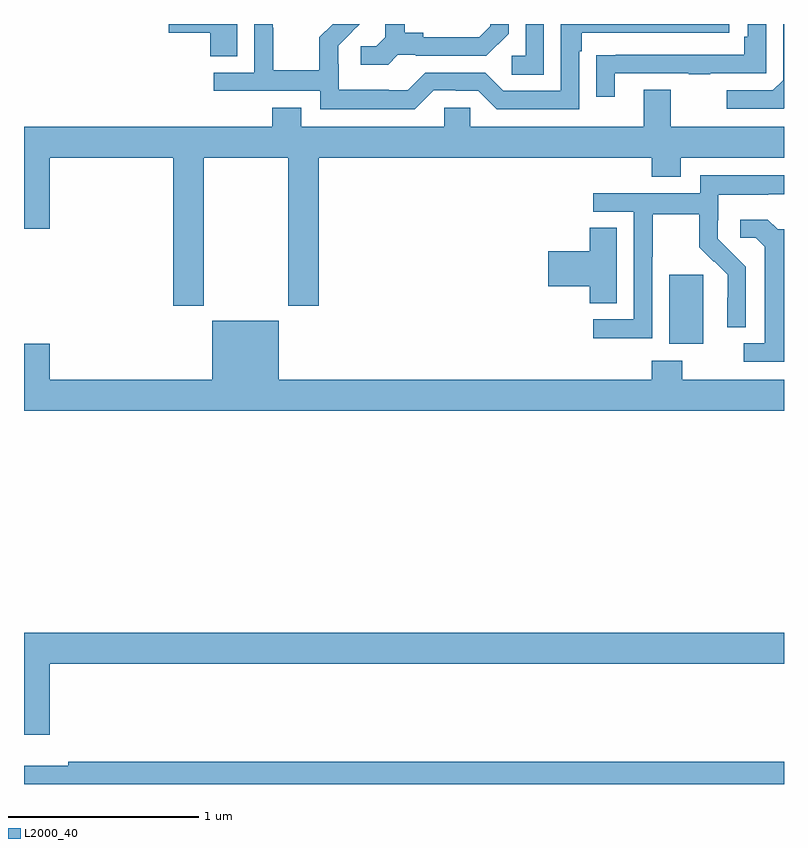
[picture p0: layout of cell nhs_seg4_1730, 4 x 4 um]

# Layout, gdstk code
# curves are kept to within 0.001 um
import gdstk
lib = gdstk.Library(unit=1e-6, precision=1e-09)
def R(c, l, rs):  # rectangles x0, y0, x1, y1
    for r in rs: c.add(gdstk.rectangle(r[:2], r[2:], *l))
def P(c, l, *ps):  # polygons
    for p in ps: c.add(gdstk.Polygon(p, *l))
L2000_40 = (2000, 40)

nhs_seg4_1730 = lib.new_cell('nhs_seg4_1730')
R(nhs_seg4_1730, L2000_40, [(204.395,753.218,204.574,753.579)])
P(nhs_seg4_1730, L2000_40, [(203.736,754.9),(203.64,754.9),(203.64,754.734),(203.568,754.734),(203.568,754.633),(203.736,754.633)],
  [(205,754.456),(205,754.9),(204.996,754.9),(204.996,754.605),(204.942,754.551),(204.699,754.551),(204.699,754.455),(204.999,754.455)],
  [(203.157,754.551),(203.273,754.551),(203.273,754.548),(203.391,754.548),(203.487,754.452),(203.922,754.452),(203.922,754.757),(203.935,754.757),(203.935,754.854),(204.712,754.854),(204.712,754.9),(203.826,754.9),(203.826,754.548),(203.523,754.548),(203.427,754.644),(203.112,754.644),(203.019,754.551),(202.919,754.551),(202.919,754.555),(202.656,754.555),(202.656,754.689),(202.654,754.689),(202.654,754.786),(202.766,754.9),(202.624,754.9),(202.555,754.831),(202.555,754.657),(202.311,754.657),(202.311,754.88),(202.308,754.88),(202.308,754.9),(202.212,754.9),(202.212,754.644),(201.999,754.644),(201.999,754.548),(202.56,754.548),(202.56,754.451),(203.057,754.451)],
  [(204.109,754.641),(204.499,754.641),(204.499,754.636),(204.611,754.636),(204.611,754.641),(204.906,754.641),(204.906,754.9),(204.81,754.9),(204.81,754.834),(204.79,754.834),(204.79,754.737),(204.115,754.737),(204.115,754.736),(204.013,754.736),(204.013,754.518),(204.109,754.518)],
  [(202.123,754.9),(201.762,754.9),(201.762,754.853),(201.98,754.853),(201.98,754.729),(202.123,754.729)],
  [(202.968,754.737),(203.062,754.737),(203.062,754.734),(203.434,754.734),(203.55,754.85),(203.55,754.9),(203.453,754.9),(203.453,754.887),(203.396,754.83),(203.101,754.83),(203.101,754.853),(203.005,754.853),(203.005,754.9),(202.901,754.9),(202.901,754.829),(202.854,754.782),(202.773,754.782),(202.773,754.685),(202.916,754.685)],
  [(201.945,754.196),(202.39,754.196),(202.39,753.417),(202.55,753.417),(202.55,754.196),(204.305,754.196),(204.305,754.097),(204.457,754.097),(204.457,754.196),(205,754.196),(205,754.36),(204.403,754.36),(204.403,754.555),(204.263,754.555),(204.263,754.36),(203.349,754.36),(203.349,754.458),(203.211,754.458),(203.211,754.36),(202.459,754.36),(202.459,754.459),(202.307,754.459),(202.307,754.36),(201,754.36),(201,753.822),(201.136,753.822),(201.136,754.196),(201.785,754.196),(201.785,753.417),(201.945,753.417)],
  [(204.21,753.912),(204.21,753.345),(203.997,753.345),(203.997,753.247),(204.306,753.247),(204.306,753.676),(204.309,753.676),(204.309,753.9),(204.553,753.9),(204.553,753.725),(204.63,753.648),(204.633,753.651),(204.704,753.581),(204.704,753.458),(204.702,753.458),(204.702,753.304),(204.798,753.304),(204.798,753.622),(204.652,753.77),(204.652,753.867),(204.654,753.867),(204.654,754.001),(204.917,754.001),(204.917,754.005),(205,754.005),(205,754.105),(204.558,754.105),(204.558,754.008),(203.997,754.008),(203.997,753.912)],
  [(205,753.819),(204.966,753.819),(204.914,753.871),(204.771,753.871),(204.771,753.774),(204.852,753.774),(204.899,753.727),(204.899,753.219),(204.789,753.219),(204.789,753.123),(205,753.123)],
  [(204.121,753.827),(203.978,753.827),(203.978,753.704),(203.76,753.704),(203.76,753.521),(203.978,753.521),(203.978,753.43),(204.121,753.43)],
  [(205,753.028),(204.465,753.028),(204.465,753.127),(204.305,753.127),(204.305,753.028),(202.342,753.028),(202.342,753.337),(201.992,753.337),(201.992,753.028),(201.136,753.028),(201.136,753.217),(201,753.217),(201,752.864),(205,752.864)],
  [(201.136,751.532),(205,751.532),(205,751.696),(201,751.696),(201,751.158),(201.136,751.158)],
  [(205,751.016),(201.232,751.016),(201.232,750.997),(201,750.997),(201,750.9),(205,750.9)])

lib.write_gds('nhs_seg4_1730.gds')
